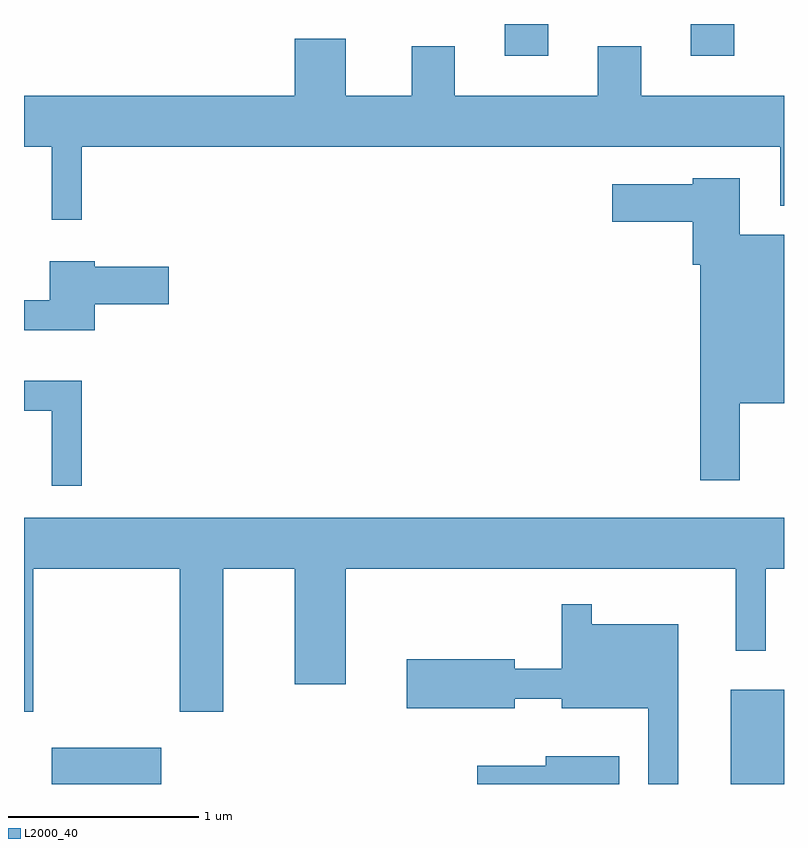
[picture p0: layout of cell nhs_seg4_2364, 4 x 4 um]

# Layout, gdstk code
import gdstk
lib = gdstk.Library(unit=1e-6, precision=1e-09)
def R(c, l, rs):  # rectangles x0, y0, x1, y1
    for r in rs: c.add(gdstk.rectangle(r[:2], r[2:], *l))
def P(c, l, *ps):  # polygons
    for p in ps: c.add(gdstk.Polygon(p, *l))
L2000_40 = (2000, 40)

nhs_seg4_2364 = lib.new_cell('nhs_seg4_2364')
R(nhs_seg4_2364, L2000_40, [(253.756,1357.982,254.334,1358.174), (257.331,1357.982,257.611,1358.479), (256.141,1361.816,256.369,1361.982), (257.121,1361.816,257.349,1361.982)])
P(nhs_seg4_2364, L2000_40, [(253.914,1361.336),(257.591,1361.336),(257.591,1361.026),(257.611,1361.026),(257.611,1361.604),(256.859,1361.604),(256.859,1361.864),(256.631,1361.864),(256.631,1361.604),(255.879,1361.604),(255.879,1361.864),(255.651,1361.864),(255.651,1361.604),(255.304,1361.604),(255.304,1361.904),(255.036,1361.904),(255.036,1361.604),(253.611,1361.604),(253.611,1361.336),(253.756,1361.336),(253.756,1360.953),(253.914,1360.953)],
  [(257.379,1359.986),(257.611,1359.986),(257.611,1360.874),(257.379,1360.874),(257.379,1361.169),(257.131,1361.169),(257.131,1361.139),(256.706,1361.139),(256.706,1360.941),(257.131,1360.941),(257.131,1360.716),(257.171,1360.716),(257.171,1359.581),(257.379,1359.581)],
  [(253.984,1360.506),(254.374,1360.506),(254.374,1360.704),(253.984,1360.704),(253.984,1360.734),(253.746,1360.734),(253.746,1360.529),(253.611,1360.529),(253.611,1360.371),(253.984,1360.371)],
  [(253.914,1360.104),(253.611,1360.104),(253.611,1359.946),(253.756,1359.946),(253.756,1359.553),(253.914,1359.553)],
  [(253.659,1359.116),(254.431,1359.116),(254.431,1358.361),(254.659,1358.361),(254.659,1359.116),(255.036,1359.116),(255.036,1358.506),(255.304,1358.506),(255.304,1359.116),(257.356,1359.116),(257.356,1358.683),(257.514,1358.683),(257.514,1359.116),(257.611,1359.116),(257.611,1359.384),(253.611,1359.384),(253.611,1358.361),(253.659,1358.361)],
  [(257.054,1358.824),(256.599,1358.824),(256.599,1358.928),(256.441,1358.928),(256.441,1358.589),(256.194,1358.589),(256.194,1358.639),(255.626,1358.639),(255.626,1358.381),(256.194,1358.381),(256.194,1358.431),(256.441,1358.431),(256.441,1358.381),(256.896,1358.381),(256.896,1357.982),(257.054,1357.982)],
  [(256.744,1358.129),(256.356,1358.129),(256.356,1358.079),(255.996,1358.079),(255.996,1357.982),(256.744,1357.982)])

lib.write_gds('nhs_seg4_2364.gds')
